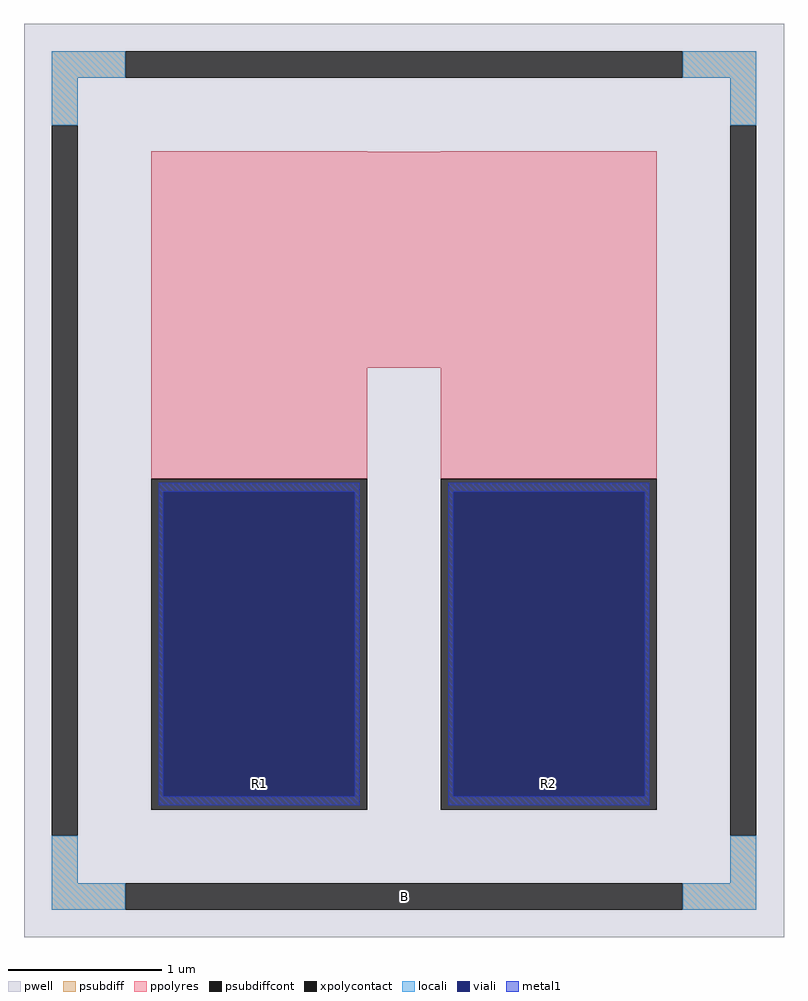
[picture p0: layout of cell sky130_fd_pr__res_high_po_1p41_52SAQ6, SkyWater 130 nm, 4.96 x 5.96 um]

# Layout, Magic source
magic
tech sky130A
magscale 1 2
<< pwell >>
rect -496 -596 496 596
<< psubdiff >>
rect -460 526 -364 560
rect 364 526 460 560
rect -460 464 -426 526
rect 426 464 460 526
rect -460 -526 -426 -464
rect 426 -526 460 -464
rect -460 -560 -364 -526
rect 364 -560 460 -526
<< psubdiffcont >>
rect -364 526 364 560
rect -460 -464 -426 464
rect 426 -464 460 464
rect -364 -560 364 -526
<< xpolycontact >>
rect -330 -430 -48 2
rect 48 -430 330 2
<< ppolyres >>
rect -330 429 -48 430
rect 48 429 330 430
rect -330 147 330 429
rect -330 2 -48 147
rect 48 2 330 147
<< locali >>
rect -460 526 -364 560
rect 364 526 460 560
rect -460 464 -426 526
rect 426 464 460 526
rect -460 -526 -426 -464
rect 426 -526 460 -464
rect -460 -560 -364 -526
rect 364 -560 460 -526
<< viali >>
rect -314 -412 -64 -15
rect 64 -412 314 -15
<< metal1 >>
rect -320 -15 -58 -3
rect -320 -412 -314 -15
rect -64 -412 -58 -15
rect -320 -424 -58 -412
rect 58 -15 320 -3
rect 58 -412 64 -15
rect 314 -412 320 -15
rect 58 -424 320 -412
<< labels >>
rlabel psubdiffcont 0 -543 0 -543 0 B
port 4 nsew
rlabel xpolycontact -189 -395 -189 -395 0 R1
port 5 nsew
rlabel xpolycontact 189 -395 189 -395 0 R2
port 6 nsew
<< properties >>
string FIXED_BBOX -443 -543 443 543
string gencell sky130_fd_pr__res_high_po_1p41
string library sky130
string parameters w 1.41 l 1.615 m 1 nx 2 wmin 1.410 lmin 0.50 class resistor rho 319.8 val 1.328k dummy 0 dw 0.0 term 194.82 sterm 0.0 caplen 0 guard 1 glc 1 grc 1 gtc 1 gbc 1 compatible {sky130_fd_pr__res_high_po_0p35  sky130_fd_pr__res_high_po_0p69 sky130_fd_pr__res_high_po_1p41  sky130_fd_pr__res_high_po_2p85 sky130_fd_pr__res_high_po_5p73} snake 1 full_metal 1 wmax 1.410 n_guard 0 hv_guard 0 vias 1 viagb 0 viagt 0 viagl 0 viagr 0 doports 1
<< end >>
